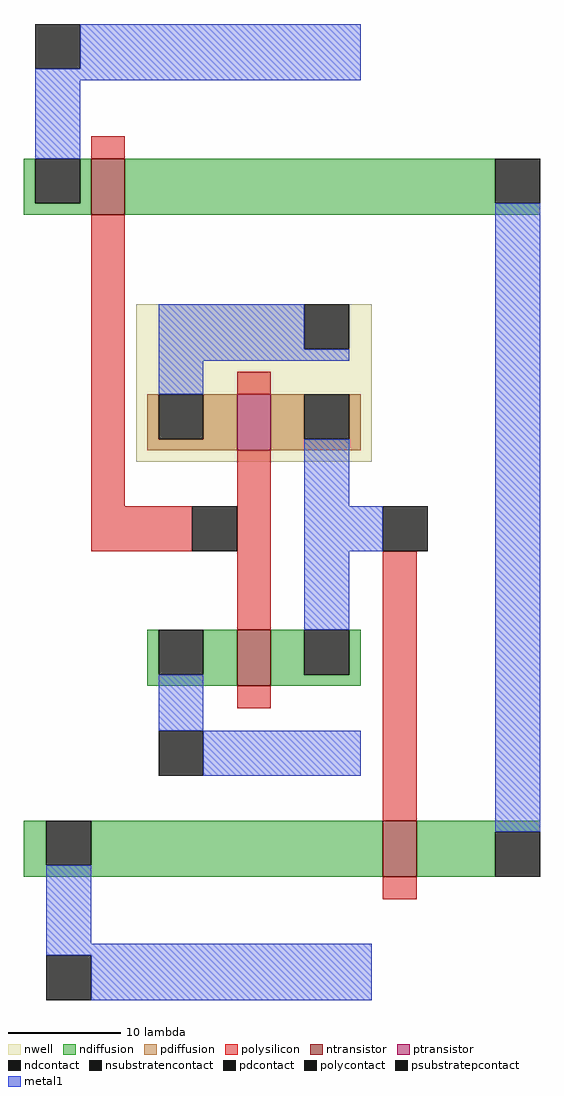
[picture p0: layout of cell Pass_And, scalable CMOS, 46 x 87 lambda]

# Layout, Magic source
magic
tech scmos
<< nwell >>
rect -14 3 7 17
<< polysilicon >>
rect -18 30 -15 32
rect -18 -1 -15 25
rect -5 9 -2 11
rect -18 -5 -9 -1
rect -5 -12 -2 4
rect -5 -19 -2 -17
rect 8 -29 11 -5
rect 8 -36 11 -34
<< ndiffusion >>
rect -24 26 -23 30
rect -19 26 -18 30
rect -24 25 -18 26
rect -15 26 18 30
rect -15 25 22 26
rect -13 -16 -12 -12
rect -8 -16 -5 -12
rect -13 -17 -5 -16
rect -2 -16 1 -12
rect 5 -16 6 -12
rect -2 -17 6 -16
rect -24 -33 -22 -29
rect -18 -33 8 -29
rect -24 -34 8 -33
rect 11 -30 22 -29
rect 11 -34 18 -30
<< pdiffusion >>
rect -13 5 -12 9
rect -8 5 -5 9
rect -13 4 -5 5
rect -2 5 1 9
rect 5 5 6 9
rect -2 4 6 5
<< metal1 >>
rect -19 38 6 42
rect -23 37 6 38
rect -23 30 -19 37
rect -12 13 1 17
rect -12 12 5 13
rect -12 9 -8 12
rect 1 -1 5 5
rect 1 -5 8 -1
rect 1 -12 5 -5
rect -12 -21 -8 -16
rect -8 -25 6 -21
rect -22 -40 -18 -33
rect 18 -30 22 26
rect -22 -41 7 -40
rect -18 -45 7 -41
<< ntransistor >>
rect -18 25 -15 30
rect -5 -17 -2 -12
rect 8 -34 11 -29
<< ptransistor >>
rect -5 4 -2 9
<< polycontact >>
rect -9 -5 -5 -1
rect 8 -5 12 -1
<< ndcontact >>
rect -23 26 -19 30
rect 18 26 22 30
rect -12 -16 -8 -12
rect 1 -16 5 -12
rect -22 -33 -18 -29
rect 18 -34 22 -30
<< pdcontact >>
rect -12 5 -8 9
rect 1 5 5 9
<< psubstratepcontact >>
rect -23 38 -19 42
rect -12 -25 -8 -21
rect -22 -45 -18 -41
<< nsubstratencontact >>
rect 1 13 5 17
<< end >>
